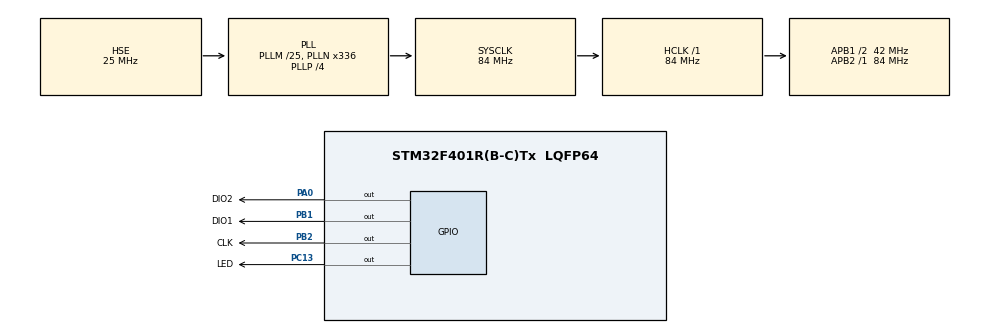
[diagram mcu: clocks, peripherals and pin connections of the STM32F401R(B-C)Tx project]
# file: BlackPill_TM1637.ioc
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Mcu.Family=STM32F4
Mcu.Name=STM32F401R(B-C)Tx
Mcu.Package=LQFP64
NVIC.PriorityGroup=NVIC_PRIORITYGROUP_4
PA0-WKUP.GPIO_Label=DIO2
PA0-WKUP.GPIO_ModeDefaultOutputPP=GPIO_MODE_OUTPUT_OD
PA0-WKUP.GPIO_PuPd=GPIO_NOPULL
PA0-WKUP.GPIO_Speed=GPIO_SPEED_FREQ_HIGH
PA0-WKUP.Signal=GPIO_Output
PB1.GPIO_Label=DIO1
PB1.GPIO_ModeDefaultOutputPP=GPIO_MODE_OUTPUT_OD
PB1.GPIO_PuPd=GPIO_NOPULL
PB1.GPIO_Speed=GPIO_SPEED_FREQ_HIGH
PB1.Signal=GPIO_Output
PB2.GPIO_Label=CLK
PB2.GPIO_ModeDefaultOutputPP=GPIO_MODE_OUTPUT_OD
PB2.GPIO_PuPd=GPIO_NOPULL
PB2.GPIO_Speed=GPIO_SPEED_FREQ_HIGH
PB2.Signal=GPIO_Output
PC13-ANTI_TAMP.GPIO_Label=LED
PC13-ANTI_TAMP.Signal=GPIO_Output
PC14-OSC32_IN.Mode=LSE-External-Oscillator
PC14-OSC32_IN.Signal=RCC_OSC32_IN
PC15-OSC32_OUT.Mode=LSE-External-Oscillator
PC15-OSC32_OUT.Signal=RCC_OSC32_OUT
PH0\ -\ OSC_IN.Mode=HSE-External-Oscillator
PH0\ -\ OSC_IN.Signal=RCC_OSC_IN
PH1\ -\ OSC_OUT.Mode=HSE-External-Oscillator
PH1\ -\ OSC_OUT.Signal=RCC_OSC_OUT
ProjectManager.HeapSize=0x200
ProjectManager.StackSize=0x400
ProjectManager.TargetToolchain=CMake
RCC.48MHZClocksFreq_Value=48000000
RCC.AHBFreq_Value=84000000
RCC.APB1CLKDivider=RCC_HCLK_DIV2
RCC.APB1Freq_Value=42000000
RCC.APB1TimFreq_Value=84000000
RCC.APB2Freq_Value=84000000
RCC.APB2TimFreq_Value=84000000
RCC.CortexFreq_Value=84000000
RCC.HCLKFreq_Value=84000000
RCC.HSE_VALUE=25000000
RCC.HSI_VALUE=16000000
RCC.PLLM=25
RCC.PLLN=336
RCC.PLLP=RCC_PLLP_DIV4
RCC.PLLQ=7
RCC.PLLSourceVirtual=RCC_PLLSOURCE_HSE
RCC.SYSCLKFreq_VALUE=84000000
RCC.SYSCLKSource=RCC_SYSCLKSOURCE_PLLCLK
RCC.VCOOutputFreq_Value=336000000
VP_RTC_VS_RTC_Activate.Mode=RTC_Enabled
board=custom

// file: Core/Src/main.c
/* USER CODE BEGIN Header */
/**
  ******************************************************************************
  * @file           : main.c
  * @brief          : Main program body
  ******************************************************************************
  * @attention
  *
  * Copyright (c) 2026 STMicroelectronics.
  * All rights reserved.
  *
  * This software is licensed under terms that can be found in the LICENSE file
  * in the root directory of this software component.
  * If no LICENSE file comes with this software, it is provided AS-IS.
  *
  ******************************************************************************
  */
/* USER CODE END Header */
#include "main.h"

/* USER CODE BEGIN Includes */
#include "tm1637.h"
/* USER CODE END Includes */

RTC_HandleTypeDef hrtc;

/* USER CODE BEGIN PV */
TM1637_HandleTypeDef htm1 = {
  .brightness = 7,
  .digits = 4,
  .clk_port = CLK_GPIO_Port,
  .clk_pin = CLK_Pin,
  .dio_port = DIO1_GPIO_Port,
  .dio_pin = DIO1_Pin,
};
TM1637_HandleTypeDef htm2 = {
  .brightness = 7,
  .digits = 4,
  .clk_port = CLK_GPIO_Port,
  .clk_pin = CLK_Pin,
  .dio_port = DIO2_GPIO_Port,
  .dio_pin = DIO2_Pin,
};
/* USER CODE END PV */

void SystemClock_Config(void);
static void MX_GPIO_Init(void);
static void MX_RTC_Init(void);

int main(void)
{

  /* MCU Configuration--------------------------------------------------------*/

  /* Reset of all peripherals, Initializes the Flash interface and the Systick. */
  HAL_Init();

  /* Configure the system clock */
  SystemClock_Config();

  /* Initialize all configured peripherals */
  MX_GPIO_Init();
  MX_RTC_Init();
  /* USER CODE BEGIN 2 */
  TM1637_Init(&htm1);
  TM1637_Init(&htm2);
  /* USER CODE END 2 */

  /* Infinite loop */
  /* USER CODE BEGIN WHILE */
  uint32_t prevtime = 0;
  for (;;)
  {
    TM1637_Tick();
    uint32_t time = RTC->TR;
    (void)RTC->DR; // Always read data register!
    if (prevtime != time) {
      HAL_GPIO_TogglePin(LED_GPIO_Port, LED_Pin);
      TM1637_ShowBCD(&htm1, time);
      TM1637_ShowBCD_HM(&htm2, time);
      prevtime = time;
    }
  }
    /* USER CODE END WHILE */

}

void SystemClock_Config(void)
{
  RCC_OscInitTypeDef RCC_OscInitStruct = {0};
  RCC_ClkInitTypeDef RCC_ClkInitStruct = {0};

  /** Configure the main internal regulator output voltage
  */
  __HAL_RCC_PWR_CLK_ENABLE();
  __HAL_PWR_VOLTAGESCALING_CONFIG(PWR_REGULATOR_VOLTAGE_SCALE2);

  /** Initializes the RCC Oscillators according to the specified parameters
  * in the RCC_OscInitTypeDef structure.
  */
  RCC_OscInitStruct.OscillatorType = RCC_OSCILLATORTYPE_LSI|RCC_OSCILLATORTYPE_HSE;
  RCC_OscInitStruct.HSEState = RCC_HSE_ON;
  RCC_OscInitStruct.LSIState = RCC_LSI_ON;
  RCC_OscInitStruct.PLL.PLLState = RCC_PLL_ON;
  RCC_OscInitStruct.PLL.PLLSource = RCC_PLLSOURCE_HSE;
  RCC_OscInitStruct.PLL.PLLM = 25;
  RCC_OscInitStruct.PLL.PLLN = 336;
  RCC_OscInitStruct.PLL.PLLP = RCC_PLLP_DIV4;
  RCC_OscInitStruct.PLL.PLLQ = 7;
  if (HAL_RCC_OscConfig(&RCC_OscInitStruct) != HAL_OK)
  {
    Error_Handler();
  }

  /** Initializes the CPU, AHB and APB buses clocks
  */
  RCC_ClkInitStruct.ClockType = RCC_CLOCKTYPE_HCLK|RCC_CLOCKTYPE_SYSCLK
                              |RCC_CLOCKTYPE_PCLK1|RCC_CLOCKTYPE_PCLK2;
  RCC_ClkInitStruct.SYSCLKSource = RCC_SYSCLKSOURCE_PLLCLK;
  RCC_ClkInitStruct.AHBCLKDivider = RCC_SYSCLK_DIV1;
  RCC_ClkInitStruct.APB1CLKDivider = RCC_HCLK_DIV2;
  RCC_ClkInitStruct.APB2CLKDivider = RCC_HCLK_DIV1;

  if (HAL_RCC_ClockConfig(&RCC_ClkInitStruct, FLASH_LATENCY_2) != HAL_OK)
  {
    Error_Handler();
  }
}

static void MX_RTC_Init(void)
{

  /** Initialize RTC Only
  */
  hrtc.Instance = RTC;
  hrtc.Init.HourFormat = RTC_HOURFORMAT_24;
  hrtc.Init.AsynchPrediv = 127;
  hrtc.Init.SynchPrediv = 255;
  hrtc.Init.OutPut = RTC_OUTPUT_DISABLE;
  hrtc.Init.OutPutPolarity = RTC_OUTPUT_POLARITY_HIGH;
  hrtc.Init.OutPutType = RTC_OUTPUT_TYPE_OPENDRAIN;
  if (HAL_RTC_Init(&hrtc) != HAL_OK)
  {
    Error_Handler();
  }

}

static void MX_GPIO_Init(void)
{
  GPIO_InitTypeDef GPIO_InitStruct = {0};

  /* GPIO Ports Clock Enable */
  __HAL_RCC_GPIOC_CLK_ENABLE();
  __HAL_RCC_GPIOH_CLK_ENABLE();
  __HAL_RCC_GPIOA_CLK_ENABLE();
  __HAL_RCC_GPIOB_CLK_ENABLE();

  /*Configure GPIO pin Output Level */
  HAL_GPIO_WritePin(LED_GPIO_Port, LED_Pin, GPIO_PIN_RESET);

  /*Configure GPIO pin Output Level */
  HAL_GPIO_WritePin(DIO2_GPIO_Port, DIO2_Pin, GPIO_PIN_RESET);

  /*Configure GPIO pin Output Level */
  HAL_GPIO_WritePin(GPIOB, DIO1_Pin|CLK_Pin, GPIO_PIN_RESET);

  /*Configure GPIO pin : LED_Pin */
  GPIO_InitStruct.Pin = LED_Pin;
  GPIO_InitStruct.Mode = GPIO_MODE_OUTPUT_PP;
  GPIO_InitStruct.Pull = GPIO_NOPULL;
  GPIO_InitStruct.Speed = GPIO_SPEED_FREQ_LOW;
  HAL_GPIO_Init(LED_GPIO_Port, &GPIO_InitStruct);

  /*Configure GPIO pin : DIO2_Pin */
  GPIO_InitStruct.Pin = DIO2_Pin;
  GPIO_InitStruct.Mode = GPIO_MODE_OUTPUT_OD;
  GPIO_InitStruct.Pull = GPIO_NOPULL;
  GPIO_InitStruct.Speed = GPIO_SPEED_FREQ_HIGH;
  HAL_GPIO_Init(DIO2_GPIO_Port, &GPIO_InitStruct);

  /*Configure GPIO pins : DIO1_Pin CLK_Pin */
  GPIO_InitStruct.Pin = DIO1_Pin|CLK_Pin;
  GPIO_InitStruct.Mode = GPIO_MODE_OUTPUT_OD;
  GPIO_InitStruct.Pull = GPIO_NOPULL;
  GPIO_InitStruct.Speed = GPIO_SPEED_FREQ_HIGH;
  HAL_GPIO_Init(GPIOB, &GPIO_InitStruct);

}

void Error_Handler(void)
{
  __disable_irq();
  while (1)
  {
  }
}
